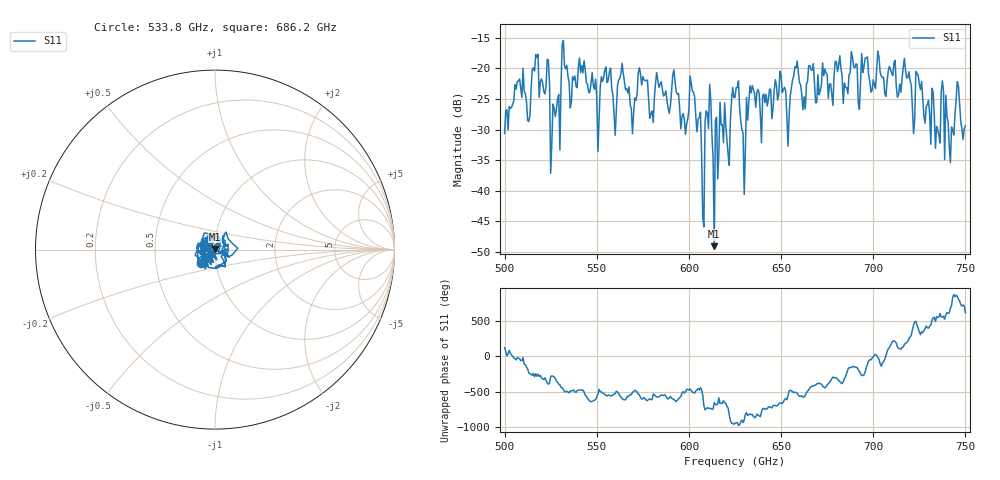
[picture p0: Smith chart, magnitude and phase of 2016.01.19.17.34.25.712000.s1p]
!Created with skrf (http://scikit-rf.org).
# GHz S RI R 50.0
!freq ReS11 ImS11
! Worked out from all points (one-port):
!   401 points, 500 GHz to 750 GHz, reference 50 ohm
!   lowest |S11| = -49.1 dB at 613.8 GHz (marker M1), VSWR 1.01, Z = 50.2 + j0.313 ohm
!   |S11| at or under -10 dB: start of sweep to end of sweep
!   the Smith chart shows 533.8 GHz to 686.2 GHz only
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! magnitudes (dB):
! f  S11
! 500 GHz  -30.6
! 506.9 GHz  -22.1
! 513.1 GHz  -28.7
! 516.9 GHz  -17.7
! 526.2 GHz  -25.8
! 531.2 GHz  -16.0
! 556.2 GHz  -21.9
! 559.4 GHz  -27.4
! 562.5 GHz  -21.7
! 569.4 GHz  -30.7
! 573.8 GHz  -21.0
! 579.4 GHz  -27.4
! 593.8 GHz  -24.2
! 601.9 GHz  -23.7
! 607.5 GHz  -44.3
! 610.6 GHz  -29.9
! 613.8 GHz  -49.1
! 625 GHz  -24.7
! 629.4 GHz  -30.6
! 634.4 GHz  -22.8
! 656.2 GHz  -21.8
! 687.5 GHz  -20.7
! 718.8 GHz  -21.5
! 735 GHz  -30.1
! 738.1 GHz  -23.6
! 742.5 GHz  -29.6
! 745.6 GHz  -22.2
! 750 GHz  -29.4
